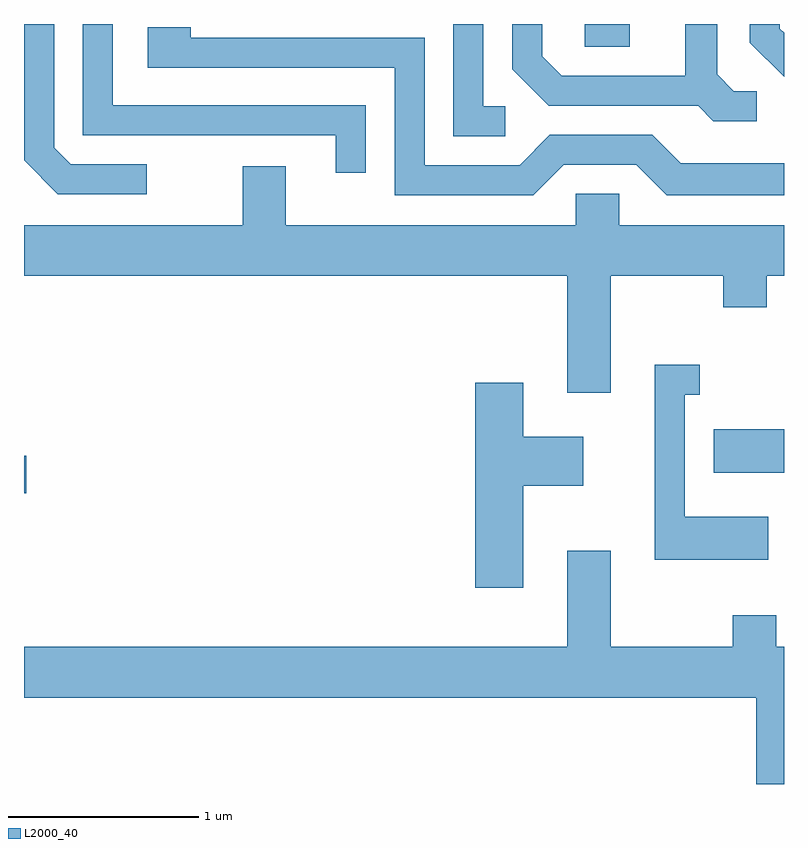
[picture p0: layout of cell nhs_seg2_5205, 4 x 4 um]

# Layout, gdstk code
import gdstk
lib = gdstk.Library(unit=1e-6, precision=1e-09)
def R(c, l, rs):  # rectangles x0, y0, x1, y1
    for r in rs: c.add(gdstk.rectangle(r[:2], r[2:], *l))
def P(c, l, *ps):  # polygons
    for p in ps: c.add(gdstk.Polygon(p, *l))
L2000_40 = (2000, 40)

nhs_seg2_5205 = lib.new_cell('nhs_seg2_5205')
R(nhs_seg2_5205, L2000_40, [(337.611,1109.331,337.624,1109.529), (341.241,1109.441,341.611,1109.669), (340.561,1111.681,340.799,1111.802)])
P(nhs_seg2_5205, L2000_40, [(341.611,1111.755),(341.589,1111.777),(341.589,1111.802),(341.431,1111.802),(341.431,1111.704),(341.611,1111.524)],
  [(340.143,1111.369),(340.029,1111.369),(340.029,1111.802),(339.871,1111.802),(339.871,1111.211),(340.143,1111.211)],
  [(341.468,1111.449),(341.347,1111.449),(341.259,1111.537),(341.259,1111.802),(341.091,1111.802),(341.091,1111.529),(340.442,1111.529),(340.339,1111.632),(340.339,1111.802),(340.181,1111.802),(340.181,1111.564),(340.374,1111.371),(341.159,1111.371),(341.239,1111.291),(341.468,1111.291)],
  [(339.409,1111.374),(338.079,1111.374),(338.079,1111.802),(337.921,1111.802),(337.921,1111.216),(339.251,1111.216),(339.251,1111.018),(339.409,1111.018)],
  [(338.258,1111.064),(337.857,1111.064),(337.769,1111.152),(337.769,1111.802),(337.611,1111.802),(337.611,1111.084),(337.789,1110.906),(338.258,1110.906)],
  [(340.452,1111.061),(340.834,1111.061),(340.994,1110.901),(341.611,1110.901),(341.611,1111.069),(341.067,1111.069),(340.917,1111.219),(340.379,1111.219),(340.219,1111.059),(339.719,1111.059),(339.719,1111.729),(338.489,1111.729),(338.489,1111.784),(338.261,1111.784),(338.261,1111.571),(339.561,1111.571),(339.561,1110.901),(340.292,1110.901)],
  [(340.699,1110.476),(341.291,1110.476),(341.291,1110.311),(341.519,1110.311),(341.519,1110.476),(341.611,1110.476),(341.611,1110.744),(340.744,1110.744),(340.744,1110.909),(340.516,1110.909),(340.516,1110.744),(338.989,1110.744),(338.989,1111.054),(338.761,1111.054),(338.761,1110.744),(337.611,1110.744),(337.611,1110.476),(340.471,1110.476),(340.471,1109.861),(340.699,1109.861)],
  [(341.529,1109.209),(341.089,1109.209),(341.089,1109.851),(341.168,1109.851),(341.168,1110.009),(340.931,1110.009),(340.931,1108.981),(341.529,1108.981)],
  [(340.239,1109.371),(340.554,1109.371),(340.554,1109.629),(340.239,1109.629),(340.239,1109.914),(339.986,1109.914),(339.986,1108.836),(340.239,1108.836)],
  [(341.611,1108.524),(341.569,1108.524),(341.569,1108.689),(341.341,1108.689),(341.341,1108.524),(340.699,1108.524),(340.699,1109.029),(340.471,1109.029),(340.471,1108.524),(337.611,1108.524),(337.611,1108.256),(341.466,1108.256),(341.466,1107.802),(341.611,1107.802)])

lib.write_gds('nhs_seg2_5205.gds')
